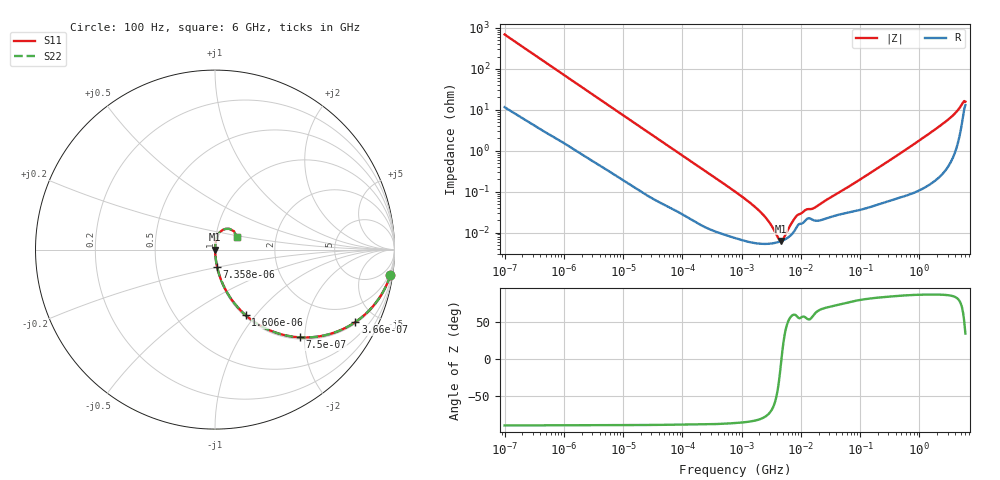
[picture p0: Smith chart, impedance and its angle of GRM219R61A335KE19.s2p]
!Murata Part Number: GRM219R61A335KE19
!These Parameters are Measured in Series Mode Connection
!Data Generated on Mar 30, 2021
!  o--ll--o
!Port1  Port2
!  o------o
!Operation Temp=25[degC], DC Bias Voltage=0[V]
!Freq. Start=100[Hz] Stop=6[GHz] 401[Steps]
# Hz S RI R 50
!Freq.(Hz) S11(Real) S11(Imag) S21(Real) S21(Imag) S12(Real) S12(Imag) S22(Real) S22(Imag)
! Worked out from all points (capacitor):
!   401 points, 100 Hz to 6 GHz, reference 50 ohm
!   read as one part in series: C = 2.29 uF near 109 Hz
!   lowest |Z| = 6.21 mohm at 4.644 MHz (marker M1)
!   series resonance near 4.713 MHz, so ESL is about 500 pH
!   S11 on the Smith chart (normalised r, x): 100 Hz: 1, -14; 366 Hz: 1.07, -3.83; 750 Hz: 1.04, -1.89; 1.606 kHz: 1.02, -0.89; 7.358 kHz: 1.01, -0.20; 6 GHz: 1.26, +0.18
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100  0.9773 -0.1408  0.0227 0.1408  0.0227 0.1408  0.9773 -0.1408
205  0.9167 -0.2675  0.0833 0.2675  0.0833 0.2675  0.9167 -0.2675
366  0.7818 -0.4037  0.2182 0.4037  0.2182 0.4037  0.7818 -0.4037
750  0.4723 -0.4889  0.5277 0.4889  0.5277 0.4889  0.4723 -0.4889
1606  0.1715 -0.366  0.8285 0.366  0.8285 0.366  0.1715 -0.366
2008  0.119 -0.3127  0.881 0.3127  0.881 0.3127  0.119 -0.3127
7358  0.0123 -0.0981  0.9877 0.0981  0.9877 0.0981  0.0123 -0.0981
40335  0.000904 -0.0186  0.9991 0.0186  0.9991 0.0186  0.000904 -0.0186
774597  7.46e-05 -0.001  0.9999 0.001  0.9999 0.001  7.46e-05 -0.001
2074311  5.34e-05 -0.000317  0.9999 0.000317  0.9999 0.000317  5.34e-05 -0.000317
2713602  5.31e-05 -0.000201  0.9999 0.000201  0.9999 0.000201  5.31e-05 -0.000201
3712478  5.62e-05 -8.38e-05  0.9999 8.38e-05  0.9999 8.38e-05  5.62e-05 -8.38e-05
4643984  6.19e-05 -5.1e-06  0.9999 5.1e-06  0.9999 5.1e-06  6.19e-05 -5.1e-06
5809218  7.26e-05 7.44e-05  0.9999 -7.44e-05  0.9999 -7.44e-05  7.26e-05 7.44e-05
8692127  0.000143 0.000222  0.9999 -0.000222  0.9999 -0.000222  0.000143 0.000222
1.243624e7  0.00021 0.0003  0.9998 -0.0003  0.9998 -0.0003  0.00021 0.0003
1.555665e7  0.000208 0.000318  0.9998 -0.000318  0.9998 -0.000318  0.000208 0.000318
3.124326e8  0.000629 0.00572  0.9994 -0.00572  0.9994 -0.00572  0.000629 0.00572
2.450438e9  0.00465 0.0442  0.9954 -0.0442  0.9954 -0.0442  0.00465 0.0442
4.385646e9  0.0219 0.0903  0.9781 -0.0903  0.9781 -0.0903  0.0219 0.0903
5.245841e9  0.0588 0.1155  0.9412 -0.1155  0.9412 -0.1155  0.0588 0.1155
6e9  0.1212 0.0694  0.8788 -0.0694  0.8788 -0.0694  0.1212 0.0694
